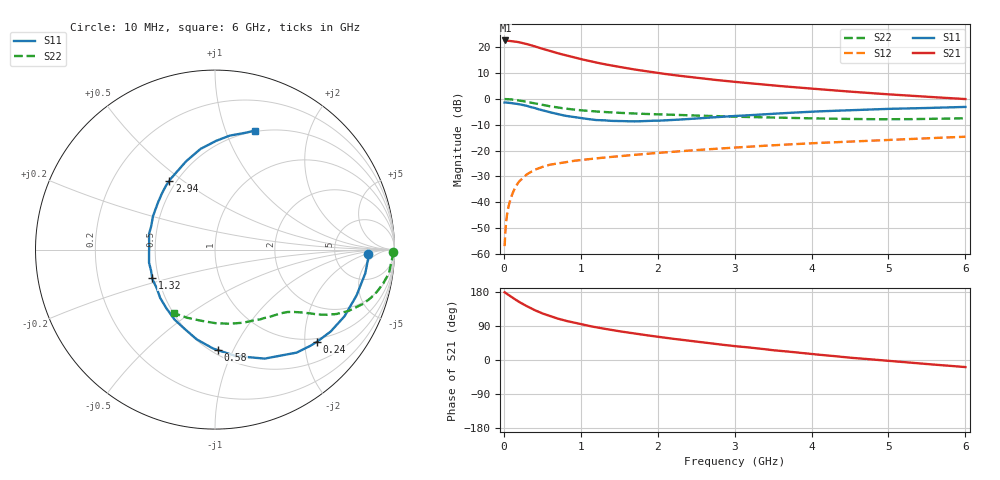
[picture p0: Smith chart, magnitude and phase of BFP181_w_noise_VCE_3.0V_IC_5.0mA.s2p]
! Infineon Technologies  Discrete & RF Semiconductors
! BFP181
! VCE = 3.0 V,  IC =  5.0 mA
! Common Emitter S-Parameters:  Jan 2016
# GHz  S  MA  R  50
!  f  S11  S21  S12  S22
! GHz  MAG  ANG  MAG  ANG  MAG  ANG  MAG  ANG
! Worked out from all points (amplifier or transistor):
!   210 points, 10 MHz to 6 GHz, reference 50 ohm
!   highest |S21| = 22.7 dB at 20 MHz (marker M1)
!   |S21| within 3 dB of that: start of sweep to 478 MHz
!   unconditionally stable (mu >= 1): 1.667 GHz to end of sweep
!   at 185 MHz: K = 0.17, MSG = 27.3 dB, |S12| = -32.6 dB
!   at 1.52 GHz: K = 0.95, MSG = 17.3 dB, |S12| = -22.2 dB
!   at 6 GHz: K = 1.04, MAG = 6.0 dB, |S12| = -14.7 dB
!   lowest NFmin = 1.55 dB at 450 MHz
!   S11 on the Smith chart (normalised r, x): 10 MHz: 12, -2; 240 MHz: 0.92, -2.29; 580 MHz: 0.54, -0.87; 1.32 GHz: 0.46, -0.17; 2.94 GHz: 0.46, +0.45; 6 GHz: 0.49, +1.27
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0.01  0.8511 -1.8  13.5 178.6  0.0014 85.4  0.9902 -0.7
0.02  0.8542 -3.6  13.57 177.6  0.0027 85.9  0.9927 -1.5
0.06  0.8423 -10.8  13.38 171.8  0.0081 84.9  0.9834 -4.7
0.15  0.8117 -27.2  12.93 159.5  0.0195 74.8  0.9561 -11.3
0.2  0.7897 -35.3  12.54 153.1  0.0252 71.4  0.9325 -14.6
0.24  0.7663 -42.0  12.12 148.3  0.0286 68.2  0.9109 -17.0
0.3  0.7323 -51.6  11.57 141.9  0.0345 63.8  0.8764 -20.3
0.4  0.6675 -65.5  10.47 131.6  0.0423 57.6  0.8183 -24.7
0.5  0.6039 -79.0  9.387 123.0  0.0481 52.9  0.7663 -27.9
0.58  0.5601 -88.4  8.704 117.3  0.0521 50.0  0.7291 -29.8
0.7  0.5103 -101.5  7.672 109.3  0.0563 46.8  0.6804 -32.1
0.8  0.4715 -111.5  7.035 103.7  0.0596 44.9  0.6492 -33.4
1.02  0.4198 -131.6  5.809 93.6  0.0659 42.1  0.5991 -35.8
1.1  0.4072 -138.6  5.487 90.0  0.0682 41.4  0.5851 -36.6
1.32  0.3832 -155.9  4.67 82.1  0.0731 40.0  0.5555 -38.7
1.6  0.3693 -175.4  3.935 72.8  0.08 39.1  0.5294 -41.2
2.02  0.3786 159.9  3.155 60.8  0.0903 37.6  0.5011 -46.1
2.94  0.46 123.5  2.186 38.1  0.1125 34.1  0.4557 -59.2
3.1  0.4744 118.7  2.073 34.8  0.1164 33.3  0.4485 -61.8
4.1  0.5738 96.3  1.541 13.9  0.1403 27.6  0.4176 -80.9
5.1  0.6455 81.3  1.199 -3.9  0.1625 21.8  0.4038 -102.9
6  0.6991 71.4  0.993 -18.7  0.1848 15.8  0.4222 -123.2
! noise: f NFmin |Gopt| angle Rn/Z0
0.45  1.55  0.48  17  0.36
0.9  1.65  0.4  35  0.34
1.8  2  0.18  88  0.34
